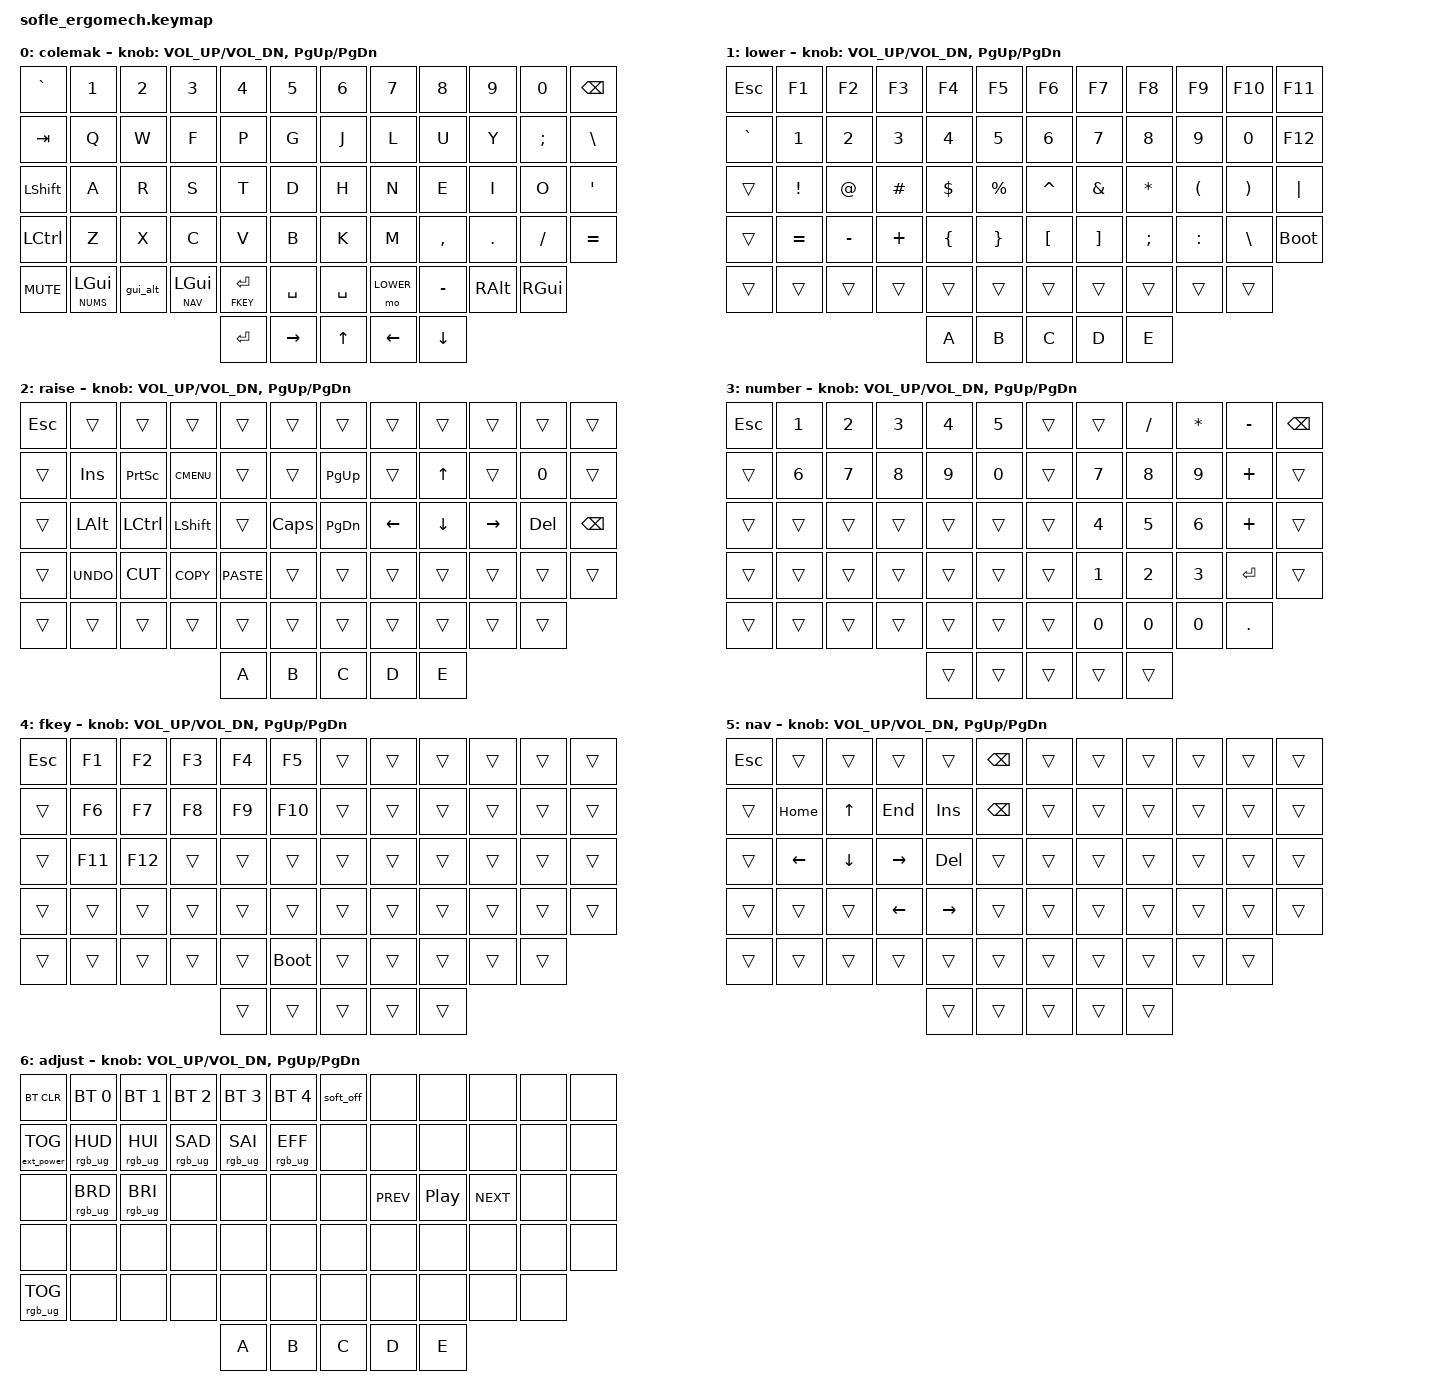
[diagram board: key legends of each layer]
/*
 * Copyright (c) 2020 The ZMK Contributors
 *
 * SPDX-License-Identifier: MIT
 */
#define ZMK_POINTING_DEFAULT_SCRL_VAL 300
#include <dt-bindings/zmk/pointing.h>
#include <behaviors.dtsi>
#include <dt-bindings/zmk/bt.h>
#include <dt-bindings/zmk/ext_power.h>
#include <dt-bindings/zmk/keys.h>
#include <dt-bindings/zmk/rgb.h>

#define BASE    0
#define LOWER   1
#define RAISE   2
#define NUMS    3
#define FKEY    4
#define NAV     5
#define ADJUST  6

/ {
    conditional_layers {
        compatible = "zmk,conditional-layers";

        adjust_layer {
            if-layers = <LOWER FKEY>;
            then-layer = <ADJUST>;
        };
    };	
	
	behaviors {
        mousescroll: mousescroll {
            compatible = "zmk,behavior-sensor-rotate";
            #sensor-binding-cells = <0>;
            bindings = <&msc SCRL_UP>, <&msc SCRL_DOWN>;
			tap-ms = <20>;
        };
    };

    behaviors {
        // Shifted GUI, used for Shift + GUI + S (Screenshot)
        // Otherwise, Alt
        gui_alt: gui_alt {
            compatible = "zmk,behavior-mod-morph";
            label = "LS(GUI) | LALT";
            bindings = <&kp LEFT_ALT>, <&kp LEFT_GUI>;

            #binding-cells = <0>;
            mods = <(MOD_LSFT)>;
            keep-mods = <(MOD_LSFT)>;
        };
    };
    
    // Bootloader hold time, 3 seconds
    //&bootloader {
    //    hold-time-ms = <3000>;
    //};

    keymap {
        compatible = "zmk,keymap";

        default_layer {
            label = "colemak";

            bindings = <
&kp GRAVE   &kp N1          &kp N2    &kp N3         &kp N4          &kp N5     &kp N6     &kp N7     &kp N8        &kp N9    &kp N0    &kp BSPC
&kp TAB     &kp Q           &kp W     &kp F          &kp P           &kp G      &kp J      &kp L      &kp U         &kp Y     &kp SEMI  &kp BSLH
&kp LSHFT   &kp A           &kp R     &kp S          &kp T           &kp D      &kp H      &kp N      &kp E         &kp I     &kp O     &kp SQT
&kp LCTRL   &kp Z           &kp X     &kp C          &kp V           &kp B      &kp K      &kp M      &kp COMMA     &kp DOT   &kp FSLH  &kp EQUAL
&kp C_MUTE  &lt NUMS LGUI   &gui_alt  &lt NAV LGUI   &lt FKEY ENTER  &kp SPACE  &kp SPACE  &mo LOWER  &kp MINUS     &kp RALT  &kp RGUI
                                                     &kp ENTER  &kp RIGHT  &kp UP_ARROW  &kp LEFT  &kp DOWN
            >;
            sensor-bindings = <&inc_dec_kp C_VOL_UP C_VOL_DN &inc_dec_kp PG_UP PG_DN>;
        };

        lower_layer {
            label = "lower";

            bindings = <
&kp ESC    &kp F1     &kp F2     &kp F3    &kp F4    &kp F5     &kp F6     &kp F7    &kp F8     &kp F9     &kp F10   &kp F11
&kp GRAVE  &kp N1     &kp N2     &kp N3    &kp N4    &kp N5     &kp N6     &kp N7    &kp N8     &kp N9     &kp N0    &kp F12
&trans     &kp EXCL   &kp AT     &kp HASH  &kp DLLR  &kp PRCNT  &kp CARET  &kp AMPS  &kp ASTRK  &kp LPAR   &kp RPAR  &kp PIPE
&trans     &kp EQUAL  &kp MINUS  &kp PLUS  &kp LBRC  &kp RBRC   &kp LBKT   &kp RBKT  &kp SEMI   &kp COLON  &kp BSLH  &bootloader
&trans     &trans     &trans     &trans    &trans    &trans     &trans     &trans    &trans     &trans     &trans
                                                                &kp A      &kp B     &kp C      &kp D      &kp E
            >;
            sensor-bindings = <&inc_dec_kp C_VOL_UP C_VOL_DN &inc_dec_kp PG_UP PG_DN>;
        };

        raise_layer {
            label = "raise";

            bindings = <
&kp ESC &trans      &trans      &trans      &trans      &trans      &trans     &trans    &trans    &trans     &trans   &trans
&trans  &kp INS     &kp PSCRN   &kp K_CMENU &trans      &trans      &kp PG_UP  &trans    &kp UP    &trans     &kp N0   &trans
&trans  &kp LALT    &kp LCTRL   &kp LSHFT   &trans      &kp CLCK    &kp PG_DN  &kp LEFT  &kp DOWN  &kp RIGHT  &kp DEL  &kp BSPC
&trans  &kp K_UNDO  &kp K_CUT   &kp K_COPY  &kp K_PASTE &trans      &trans     &trans    &trans    &trans     &trans   &trans
&trans  &trans      &trans      &trans      &trans      &trans      &trans     &trans    &trans    &trans     &trans
                                                                    &kp A      &kp B     &kp C     &kp D      &kp E
            >;
            sensor-bindings = <&inc_dec_kp C_VOL_UP C_VOL_DN &inc_dec_kp PG_UP PG_DN>;
        };

        number_layer {
            label = "number";
            
            bindings = <
&kp ESC &kp N1  &kp N2  &kp N3  &kp N4  &kp N5  &trans  &trans  &kp FSLH  &kp STAR  &kp MINUS  &kp BSPC
&trans  &kp N6  &kp N7  &kp N8  &kp N9  &kp N0  &trans  &kp N7  &kp N8    &kp N9    &kp PLUS   &trans
&trans  &trans  &trans  &trans  &trans  &trans  &trans  &kp N4  &kp N5    &kp N6    &kp PLUS   &trans
&trans  &trans  &trans  &trans  &trans  &trans  &trans  &kp N1  &kp N2    &kp N3    &kp RET    &trans
&trans  &trans  &trans  &trans  &trans  &trans  &trans  &kp N0  &kp N0    &kp N0    &kp DOT
                                                &trans  &trans  &trans    &trans    &trans
            >;
            sensor-bindings = <&inc_dec_kp C_VOL_UP C_VOL_DN &inc_dec_kp PG_UP PG_DN>;
        };

        fkey_layer {
            label = "fkey";

            bindings = <
&kp ESC &kp F1   &kp F2   &kp F3  &kp F4  &kp F5        &trans  &trans  &trans  &trans  &trans  &trans
&trans  &kp F6   &kp F7   &kp F8  &kp F9  &kp F10       &trans  &trans  &trans  &trans  &trans  &trans
&trans  &kp F11  &kp F12  &trans  &trans  &trans        &trans  &trans  &trans  &trans  &trans  &trans
&trans  &trans   &trans   &trans  &trans  &trans        &trans  &trans  &trans  &trans  &trans  &trans
&trans  &trans   &trans   &trans  &trans  &bootloader   &trans  &trans  &trans  &trans  &trans
                                                   &trans  &trans  &trans  &trans  &trans
            >;
            sensor-bindings = <&inc_dec_kp C_VOL_UP C_VOL_DN &inc_dec_kp PG_UP PG_DN>;
        };

        nav_layer {
            label = "nav";

            bindings = <
&kp ESC &trans    &trans    &trans     &trans      &kp BACKSPACE  &trans  &trans  &trans  &trans  &trans  &trans
&trans  &kp HOME  &kp UP    &kp END    &kp INSERT  &kp BACKSPACE  &trans  &trans  &trans  &trans  &trans  &trans
&trans  &kp LEFT  &kp DOWN  &kp RIGHT  &kp DEL     &trans         &trans  &trans  &trans  &trans  &trans  &trans
&trans  &trans    &trans    &kp LEFT   &kp RIGHT   &trans         &trans  &trans  &trans  &trans  &trans  &trans
&trans  &trans    &trans    &trans     &trans      &trans         &trans  &trans  &trans  &trans  &trans
                                                                  &trans  &trans  &trans  &trans  &trans
            >;
            sensor-bindings = <&inc_dec_kp C_VOL_UP C_VOL_DN &inc_dec_kp PG_UP PG_DN>;
        };

        adjust_layer {
            label = "adjust";

            bindings = <
&bt BT_CLR         &bt BT_SEL 0     &bt BT_SEL 1     &bt BT_SEL 2     &bt BT_SEL 3     &bt BT_SEL 4     &soft_off  &none       &none             &none       &none  &none
&ext_power EP_TOG  &rgb_ug RGB_HUD  &rgb_ug RGB_HUI  &rgb_ug RGB_SAD  &rgb_ug RGB_SAI  &rgb_ug RGB_EFF  &none      &none       &none             &none       &none  &none
&none              &rgb_ug RGB_BRD  &rgb_ug RGB_BRI  &none            &none            &none            &none      &kp C_PREV  &kp C_PLAY_PAUSE  &kp C_NEXT  &none  &none
&none              &none            &none            &none            &none            &none            &none      &none       &none             &none       &none  &none
&rgb_ug RGB_TOG    &none            &none            &none            &none            &none            &none      &none       &none             &none       &none
                                                                                                        &kp A      &kp B       &kp C             &kp D       &kp E
            >;
            sensor-bindings = <&inc_dec_kp C_VOL_UP C_VOL_DN &inc_dec_kp PG_UP PG_DN>;
        };
    };
};
